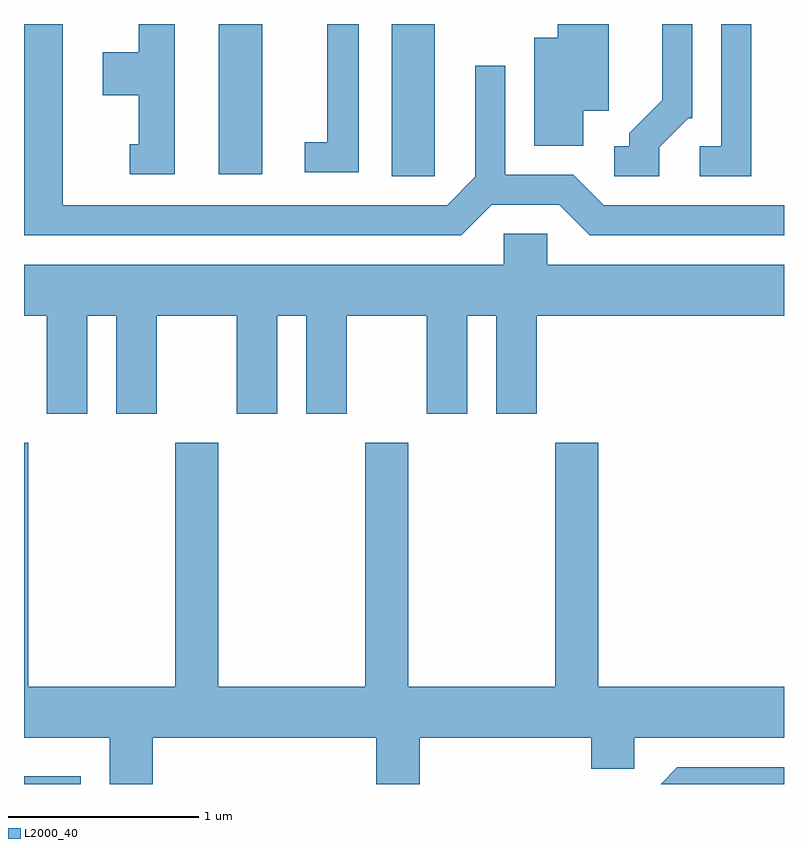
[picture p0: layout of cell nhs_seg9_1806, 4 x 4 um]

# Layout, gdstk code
import gdstk
lib = gdstk.Library(unit=1e-6, precision=1e-09)
def R(c, l, rs):  # rectangles x0, y0, x1, y1
    for r in rs: c.add(gdstk.rectangle(r[:2], r[2:], *l))
def P(c, l, *ps):  # polygons
    for p in ps: c.add(gdstk.Polygon(p, *l))
L2000_40 = (2000, 40)

nhs_seg9_1806 = lib.new_cell('nhs_seg9_1806')
R(nhs_seg9_1806, L2000_40, [(237.611,2020.432,237.909,2020.474), (239.546,2023.631,239.774,2024.432), (238.636,2023.641,238.864,2024.432)])
P(nhs_seg9_1806, L2000_40, [(240.554,2023.976),(240.689,2023.976),(240.689,2024.432),(240.421,2024.432),(240.421,2024.359),(240.296,2024.359),(240.296,2023.791),(240.554,2023.791)],
  [(241.439,2024.432),(241.281,2024.432),(241.281,2023.789),(241.168,2023.789),(241.168,2023.631),(241.439,2023.631)],
  [(238.404,2024.432),(238.216,2024.432),(238.216,2024.284),(238.026,2024.284),(238.026,2024.056),(238.216,2024.056),(238.216,2023.799),(238.168,2023.799),(238.168,2023.641),(238.404,2023.641)],
  [(240.954,2023.784),(241.107,2023.936),(241.129,2023.936),(241.129,2024.432),(240.971,2024.432),(240.971,2024.032),(240.796,2023.857),(240.796,2023.789),(240.718,2023.789),(240.718,2023.631),(240.954,2023.631)],
  [(239.374,2024.432),(239.206,2024.432),(239.206,2023.809),(239.088,2023.809),(239.088,2023.651),(239.374,2023.651)],
  [(240.072,2023.481),(240.429,2023.481),(240.589,2023.321),(241.611,2023.321),(241.611,2023.479),(240.662,2023.479),(240.502,2023.639),(240.144,2023.639),(240.144,2024.213),(239.986,2024.213),(239.986,2023.627),(239.839,2023.479),(237.814,2023.479),(237.814,2024.432),(237.611,2024.432),(237.611,2023.321),(239.912,2023.321)],
  [(237.944,2022.896),(238.096,2022.896),(238.096,2022.381),(238.309,2022.381),(238.309,2022.896),(238.731,2022.896),(238.731,2022.381),(238.944,2022.381),(238.944,2022.896),(239.096,2022.896),(239.096,2022.381),(239.309,2022.381),(239.309,2022.896),(239.731,2022.896),(239.731,2022.381),(239.944,2022.381),(239.944,2022.896),(240.096,2022.896),(240.096,2022.381),(240.309,2022.381),(240.309,2022.896),(241.611,2022.896),(241.611,2023.164),(240.364,2023.164),(240.364,2023.329),(240.136,2023.329),(240.136,2023.164),(237.611,2023.164),(237.611,2022.896),(237.731,2022.896),(237.731,2022.381),(237.944,2022.381)],
  [(238.289,2020.676),(239.466,2020.676),(239.466,2020.432),(239.694,2020.432),(239.694,2020.676),(240.596,2020.676),(240.596,2020.511),(240.824,2020.511),(240.824,2020.676),(241.611,2020.676),(241.611,2020.944),(240.634,2020.944),(240.634,2022.229),(240.406,2022.229),(240.406,2020.944),(239.634,2020.944),(239.634,2022.229),(239.406,2022.229),(239.406,2020.944),(238.634,2020.944),(238.634,2022.229),(238.406,2022.229),(238.406,2020.944),(237.634,2020.944),(237.634,2022.229),(237.611,2022.229),(237.611,2020.676),(238.061,2020.676),(238.061,2020.432),(238.289,2020.432)],
  [(241.611,2020.519),(241.049,2020.519),(240.962,2020.432),(241.611,2020.432)])

lib.write_gds('nhs_seg9_1806.gds')
